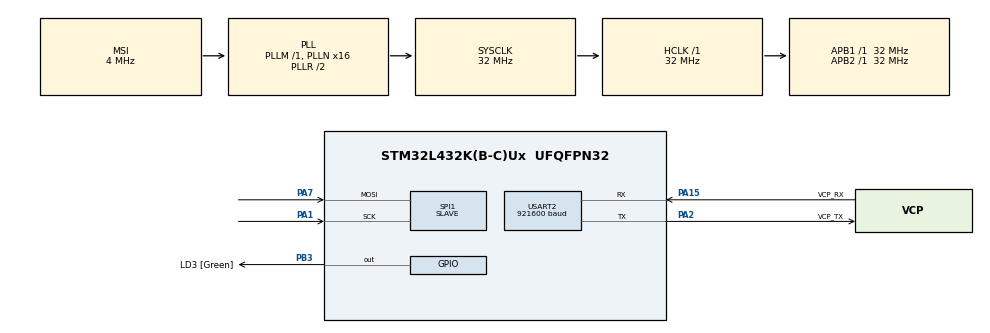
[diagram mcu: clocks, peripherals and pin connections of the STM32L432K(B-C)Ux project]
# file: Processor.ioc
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Dma.Request0=SPI1_RX
Dma.Request1=USART2_TX
Dma.SPI1_RX.0.Direction=DMA_PERIPH_TO_MEMORY
Dma.SPI1_RX.0.Instance=DMA2_Channel3
Dma.SPI1_RX.0.MemDataAlignment=DMA_MDATAALIGN_BYTE
Dma.SPI1_RX.0.MemInc=DMA_MINC_ENABLE
Dma.SPI1_RX.0.Mode=DMA_CIRCULAR
Dma.SPI1_RX.0.PeriphDataAlignment=DMA_PDATAALIGN_BYTE
Dma.SPI1_RX.0.PeriphInc=DMA_PINC_DISABLE
Dma.SPI1_RX.0.Priority=DMA_PRIORITY_LOW
Dma.USART2_TX.1.Direction=DMA_MEMORY_TO_PERIPH
Dma.USART2_TX.1.Instance=DMA1_Channel7
Dma.USART2_TX.1.MemDataAlignment=DMA_MDATAALIGN_BYTE
Dma.USART2_TX.1.MemInc=DMA_MINC_ENABLE
Dma.USART2_TX.1.Mode=DMA_NORMAL
Dma.USART2_TX.1.PeriphDataAlignment=DMA_PDATAALIGN_BYTE
Dma.USART2_TX.1.PeriphInc=DMA_PINC_DISABLE
Dma.USART2_TX.1.Priority=DMA_PRIORITY_LOW
Mcu.Family=STM32L4
Mcu.Name=STM32L432K(B-C)Ux
Mcu.Package=UFQFPN32
NVIC.DMA1_Channel7_IRQn=true\:0\:0\:false\:false\:true\:false\:true\:true
NVIC.DMA2_Channel3_IRQn=true\:0\:0\:false\:false\:true\:false\:true\:true
NVIC.PriorityGroup=NVIC_PRIORITYGROUP_4
NVIC.SPI1_IRQn=true\:0\:0\:false\:false\:true\:true\:true\:true
NVIC.USART2_IRQn=true\:0\:0\:false\:false\:true\:true\:true\:true
PA0.GPIO_Label=MCO [High speed clock in]
PA0.Mode=HSE-External-Clock-Source-for-LittleOrca
PA0.Signal=RCC_CK_IN
PA1.Mode=RX_Only_Simplex_Unidirect_Slave
PA1.Signal=SPI1_SCK
PA13\ (JTMS-SWDIO).GPIO_Label=SWDIO
PA13\ (JTMS-SWDIO).Mode=Serial_Wire
PA13\ (JTMS-SWDIO).Signal=SYS_JTMS-SWDIO
PA14\ (JTCK-SWCLK).GPIO_Label=SWCLK
PA14\ (JTCK-SWCLK).Mode=Serial_Wire
PA14\ (JTCK-SWCLK).Signal=SYS_JTCK-SWCLK
PA15\ (JTDI).GPIO_Label=VCP_RX
PA15\ (JTDI).Mode=Asynchronous
PA15\ (JTDI).Signal=USART2_RX
PA2.GPIO_Label=VCP_TX
PA2.Mode=Asynchronous
PA2.Signal=USART2_TX
PA7.Mode=RX_Only_Simplex_Unidirect_Slave
PA7.Signal=SPI1_MOSI
PB3\ (JTDO-TRACESWO).GPIO_Label=LD3 [Green]
PB3\ (JTDO-TRACESWO).Signal=GPIO_Output
PC14-OSC32_IN\ (PC14).Mode=LSE-External-Oscillator
PC14-OSC32_IN\ (PC14).Signal=RCC_OSC32_IN
PC15-OSC32_OUT\ (PC15).Mode=LSE-External-Oscillator
PC15-OSC32_OUT\ (PC15).Signal=RCC_OSC32_OUT
ProjectManager.HeapSize=0x200
ProjectManager.StackSize=0x400
ProjectManager.TargetToolchain=STM32CubeIDE
RCC.AHBFreq_Value=32000000
RCC.APB1Freq_Value=32000000
RCC.APB1TimFreq_Value=32000000
RCC.APB2Freq_Value=32000000
RCC.APB2TimFreq_Value=32000000
RCC.CortexFreq_Value=32000000
RCC.HCLKFreq_Value=32000000
RCC.HSE_VALUE=8000000
RCC.HSI16_VALUE=16000000
RCC.HSI48_VALUE=48000000
RCC.HSI_VALUE=16000000
RCC.MSI_VALUE=4000000
RCC.PLLMUL=RCC_PLLMUL_4
RCC.PLLN=16
RCC.SYSCLKFreq_VALUE=32000000
RCC.SYSCLKSource=RCC_SYSCLKSOURCE_PLLCLK
RCC.VCOOutputFreq_Value=64000000
SPI1.DataSize=SPI_DATASIZE_16BIT
SPI1.Direction=SPI_DIRECTION_2LINES_RXONLY
SPI1.Mode=SPI_MODE_SLAVE
SPI1.VirtualType=VM_SLAVE
USART2.BaudRate=921600
USART2.VirtualMode-Asynchronous=VM_ASYNC
board=NUCLEO-L432KC

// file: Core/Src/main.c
/* USER CODE BEGIN Header */
/**
  ******************************************************************************
  * @file           : main.c
  * @brief          : Main program body
  ******************************************************************************
  * @attention
  *
  * Copyright (c) 2025 STMicroelectronics.
  * All rights reserved.
  *
  * This software is licensed under terms that can be found in the LICENSE file
  * in the root directory of this software component.
  * If no LICENSE file comes with this software, it is provided AS-IS.
  *
  ******************************************************************************
  */
/* USER CODE END Header */
#include "main.h"

/* USER CODE BEGIN Includes */
#include <stdio.h>
#include <string.h>

/* USER CODE END Includes */

SPI_HandleTypeDef hspi1;
DMA_HandleTypeDef hdma_spi1_rx;

UART_HandleTypeDef huart2;
DMA_HandleTypeDef hdma_usart2_tx;

/* USER CODE BEGIN PV */
#define BUFFER_SIZE 8192
uint16_t spi_rx_buffer[BUFFER_SIZE];
uint16_t uart_tx_buffer0[BUFFER_SIZE / 2];
uint16_t uart_tx_buffer1[BUFFER_SIZE / 2];
uint16_t last_sample = 2048;
volatile uint8_t phase = 0;
volatile uint8_t isReady = 0;
volatile uint8_t isTransmit = 1;
char uart_msg[64];

/* USER CODE END PV */

void SystemClock_Config(void);
static void MX_GPIO_Init(void);
static void MX_DMA_Init(void);
static void MX_USART2_UART_Init(void);
static void MX_SPI1_Init(void);

/* USER CODE BEGIN 0 */
void HAL_SPI_RxHalfCpltCallback(SPI_HandleTypeDef *hspi) {
    if (hspi->Instance == SPI1) {

        phase = 0;
        for (int i = 0; i < BUFFER_SIZE / 2; ++ i) {
        		uart_tx_buffer0[i] = (last_sample + spi_rx_buffer[i]) >> 1;
        		last_sample = spi_rx_buffer[i];
//        	uart_tx_buffer0[i] = spi_rx_buffer[i];
        }
        isReady = 1;

    }
}

void HAL_SPI_RxCpltCallback(SPI_HandleTypeDef *hspi) {
    if (hspi->Instance == SPI1) {
        phase = 1;
        for (int i = 0; i < BUFFER_SIZE / 2; ++ i) {
        		uart_tx_buffer1[i] = (last_sample + spi_rx_buffer[i + BUFFER_SIZE / 2]) >> 1;
        		last_sample = spi_rx_buffer[i + BUFFER_SIZE / 2];
        }
        isReady = 1;
    }
}

void HAL_UART_TxCpltCallback(UART_HandleTypeDef *huart) {
    if (huart->Instance == USART2) {
    	isTransmit = 1;
    }
}

/* USER CODE END 0 */

int main(void)
{

  /* MCU Configuration--------------------------------------------------------*/

  /* Reset of all peripherals, Initializes the Flash interface and the Systick. */
  HAL_Init();

  /* Configure the system clock */
  SystemClock_Config();

  /* Initialize all configured peripherals */
  MX_GPIO_Init();
  MX_DMA_Init();
  MX_USART2_UART_Init();
  MX_SPI1_Init();
  /* USER CODE BEGIN 2 */
  HAL_SPI_Receive_DMA(&hspi1, (uint8_t*)spi_rx_buffer, BUFFER_SIZE * 2);
  /* USER CODE END 2 */

  /* Infinite loop */
  /* USER CODE BEGIN WHILE */
  while (1)
  {

	  if (isReady && isTransmit) {
		  isReady = 0;
		  if (phase == 0) {
			  HAL_UART_Transmit_DMA(&huart2, (uint8_t*)uart_tx_buffer0, BUFFER_SIZE);
			  isTransmit = 0;
//			  uint16_t first_adc_value = uart_tx_buffer0[0];
//			  sprintf(uart_msg, "ADC sampled being sent A1: %u\r\n", first_adc_value);
//			  HAL_UART_Transmit(&huart2, (uint8_t*)uart_msg, strlen(uart_msg), HAL_MAX_DELAY);
//			  first_adc_value = uart_tx_buffer0[1];
//			  sprintf(uart_msg, "ADC sampled being sent A2: %u\r\n", first_adc_value);
//			  HAL_UART_Transmit(&huart2, (uint8_t*)uart_msg, strlen(uart_msg), HAL_MAX_DELAY);
//			  first_adc_value = uart_tx_buffer0[2];
//			  sprintf(uart_msg, "ADC sampled being sent A3: %u\r\n", first_adc_value);
//			  HAL_UART_Transmit_DMA(&huart2, (uint8_t*)uart_msg, strlen(uart_msg));
		  } else {
			  HAL_UART_Transmit_DMA(&huart2, (uint8_t*)uart_tx_buffer1, BUFFER_SIZE);
			  isTransmit = 0;
//			  uint16_t first_adc_value = uart_tx_buffer1[0];
//			  sprintf(uart_msg, "ADC sampled being sent B1: %u\r\n", first_adc_value);
//			  HAL_UART_Transmit(&huart2, (uint8_t*)uart_msg, strlen(uart_msg), HAL_MAX_DELAY);
//			  first_adc_value = uart_tx_buffer1[1];
//			  sprintf(uart_msg, "ADC sampled being sent B2: %u\r\n", first_adc_value);
//			  HAL_UART_Transmit(&huart2, (uint8_t*)uart_msg, strlen(uart_msg), HAL_MAX_DELAY);
//			  first_adc_value = uart_tx_buffer1[2];
//			  sprintf(uart_msg, "ADC sampled being sent B3: %u\r\n", first_adc_value);
//			  HAL_UART_Transmit_DMA(&huart2, (uint8_t*)uart_msg, strlen(uart_msg));

		  }
	  }
    /* USER CODE END WHILE */

  }
}

void SystemClock_Config(void)
{
  RCC_OscInitTypeDef RCC_OscInitStruct = {0};
  RCC_ClkInitTypeDef RCC_ClkInitStruct = {0};

  /** Configure the main internal regulator output voltage
  */
  if (HAL_PWREx_ControlVoltageScaling(PWR_REGULATOR_VOLTAGE_SCALE1) != HAL_OK)
  {
    Error_Handler();
  }

  /** Configure LSE Drive Capability
  */
  HAL_PWR_EnableBkUpAccess();
  __HAL_RCC_LSEDRIVE_CONFIG(RCC_LSEDRIVE_LOW);

  /** Initializes the RCC Oscillators according to the specified parameters
  * in the RCC_OscInitTypeDef structure.
  */
  RCC_OscInitStruct.OscillatorType = RCC_OSCILLATORTYPE_LSE|RCC_OSCILLATORTYPE_MSI;
  RCC_OscInitStruct.LSEState = RCC_LSE_ON;
  RCC_OscInitStruct.MSIState = RCC_MSI_ON;
  RCC_OscInitStruct.MSICalibrationValue = 0;
  RCC_OscInitStruct.MSIClockRange = RCC_MSIRANGE_6;
  RCC_OscInitStruct.PLL.PLLState = RCC_PLL_ON;
  RCC_OscInitStruct.PLL.PLLSource = RCC_PLLSOURCE_MSI;
  RCC_OscInitStruct.PLL.PLLM = 1;
  RCC_OscInitStruct.PLL.PLLN = 16;
  RCC_OscInitStruct.PLL.PLLP = RCC_PLLP_DIV7;
  RCC_OscInitStruct.PLL.PLLQ = RCC_PLLQ_DIV2;
  RCC_OscInitStruct.PLL.PLLR = RCC_PLLR_DIV2;
  if (HAL_RCC_OscConfig(&RCC_OscInitStruct) != HAL_OK)
  {
    Error_Handler();
  }

  /** Initializes the CPU, AHB and APB buses clocks
  */
  RCC_ClkInitStruct.ClockType = RCC_CLOCKTYPE_HCLK|RCC_CLOCKTYPE_SYSCLK
                              |RCC_CLOCKTYPE_PCLK1|RCC_CLOCKTYPE_PCLK2;
  RCC_ClkInitStruct.SYSCLKSource = RCC_SYSCLKSOURCE_PLLCLK;
  RCC_ClkInitStruct.AHBCLKDivider = RCC_SYSCLK_DIV1;
  RCC_ClkInitStruct.APB1CLKDivider = RCC_HCLK_DIV1;
  RCC_ClkInitStruct.APB2CLKDivider = RCC_HCLK_DIV1;

  if (HAL_RCC_ClockConfig(&RCC_ClkInitStruct, FLASH_LATENCY_1) != HAL_OK)
  {
    Error_Handler();
  }

  /** Enable MSI Auto calibration
  */
  HAL_RCCEx_EnableMSIPLLMode();
}

static void MX_SPI1_Init(void)
{

  /* SPI1 parameter configuration*/
  hspi1.Instance = SPI1;
  hspi1.Init.Mode = SPI_MODE_SLAVE;
  hspi1.Init.Direction = SPI_DIRECTION_2LINES_RXONLY;
  hspi1.Init.DataSize = SPI_DATASIZE_16BIT;
  hspi1.Init.CLKPolarity = SPI_POLARITY_LOW;
  hspi1.Init.CLKPhase = SPI_PHASE_1EDGE;
  hspi1.Init.NSS = SPI_NSS_SOFT;
  hspi1.Init.FirstBit = SPI_FIRSTBIT_MSB;
  hspi1.Init.TIMode = SPI_TIMODE_DISABLE;
  hspi1.Init.CRCCalculation = SPI_CRCCALCULATION_DISABLE;
  hspi1.Init.CRCPolynomial = 7;
  hspi1.Init.CRCLength = SPI_CRC_LENGTH_DATASIZE;
  hspi1.Init.NSSPMode = SPI_NSS_PULSE_DISABLE;
  if (HAL_SPI_Init(&hspi1) != HAL_OK)
  {
    Error_Handler();
  }

}

static void MX_USART2_UART_Init(void)
{

  huart2.Instance = USART2;
  huart2.Init.BaudRate = 921600;
  huart2.Init.WordLength = UART_WORDLENGTH_8B;
  huart2.Init.StopBits = UART_STOPBITS_1;
  huart2.Init.Parity = UART_PARITY_NONE;
  huart2.Init.Mode = UART_MODE_TX_RX;
  huart2.Init.HwFlowCtl = UART_HWCONTROL_NONE;
  huart2.Init.OverSampling = UART_OVERSAMPLING_16;
  huart2.Init.OneBitSampling = UART_ONE_BIT_SAMPLE_DISABLE;
  huart2.AdvancedInit.AdvFeatureInit = UART_ADVFEATURE_NO_INIT;
  if (HAL_UART_Init(&huart2) != HAL_OK)
  {
    Error_Handler();
  }

}

static void MX_DMA_Init(void)
{

  /* DMA controller clock enable */
  __HAL_RCC_DMA2_CLK_ENABLE();
  __HAL_RCC_DMA1_CLK_ENABLE();

  /* DMA interrupt init */
  /* DMA1_Channel7_IRQn interrupt configuration */
  HAL_NVIC_SetPriority(DMA1_Channel7_IRQn, 0, 0);
  HAL_NVIC_EnableIRQ(DMA1_Channel7_IRQn);
  /* DMA2_Channel3_IRQn interrupt configuration */
  HAL_NVIC_SetPriority(DMA2_Channel3_IRQn, 0, 0);
  HAL_NVIC_EnableIRQ(DMA2_Channel3_IRQn);

}

static void MX_GPIO_Init(void)
{
  GPIO_InitTypeDef GPIO_InitStruct = {0};

  /* GPIO Ports Clock Enable */
  __HAL_RCC_GPIOC_CLK_ENABLE();
  __HAL_RCC_GPIOA_CLK_ENABLE();
  __HAL_RCC_GPIOB_CLK_ENABLE();

  /*Configure GPIO pin Output Level */
  HAL_GPIO_WritePin(LD3_GPIO_Port, LD3_Pin, GPIO_PIN_RESET);

  /*Configure GPIO pin : LD3_Pin */
  GPIO_InitStruct.Pin = LD3_Pin;
  GPIO_InitStruct.Mode = GPIO_MODE_OUTPUT_PP;
  GPIO_InitStruct.Pull = GPIO_NOPULL;
  GPIO_InitStruct.Speed = GPIO_SPEED_FREQ_LOW;
  HAL_GPIO_Init(LD3_GPIO_Port, &GPIO_InitStruct);

}

void Error_Handler(void)
{
  __disable_irq();
  while (1)
  {
  }
}
